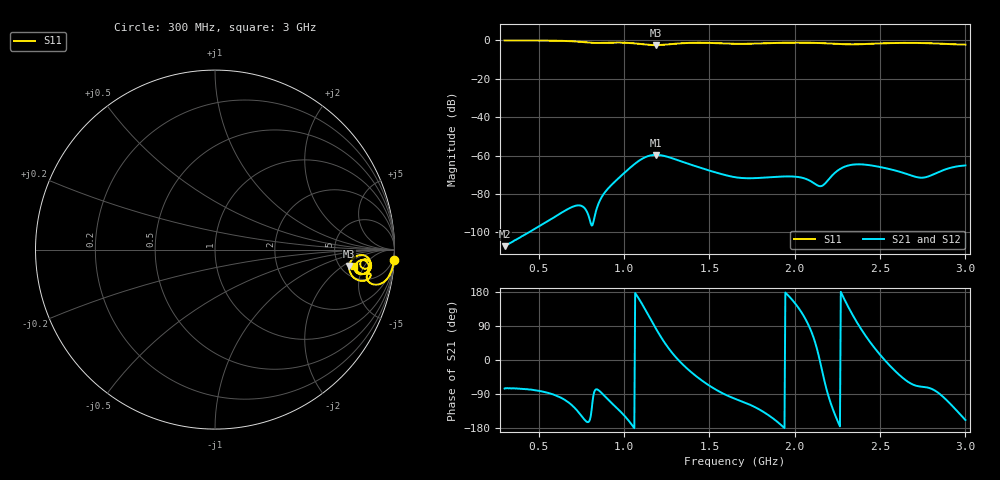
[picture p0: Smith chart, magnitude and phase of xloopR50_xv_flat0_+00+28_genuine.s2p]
! xloopR50_xv_flat0_+00+28_genuine, gap C 0.80 pF
! simulated by sim/fixtures_fdtd.py (S12 = S21, S22 not computed)
# HZ S RI R 50
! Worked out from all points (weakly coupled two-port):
!   541 points, 300 MHz to 3 GHz, reference 50 ohm
!   highest |S21| = -59.65 dB at 1.185 GHz (marker M1); lowest = -107.2 dB at 300 MHz (marker M2)
!   lowest |S11| = -2.5 dB at 1.185 GHz (marker M3), VSWR 7.13, Z = 301 - j128 ohm
!   |S11| at or under -10 dB: nowhere
!   |S22| runs from - to - dB; largest |S21 - S12| = 0
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3e8  0.9964 -0.0605  1.1e-06 -4.2e-06  1.1e-06 -4.2e-06  0 0
6e8  0.9706 -0.1465  -1.6e-06 -2.61e-05  -1.6e-06 -2.61e-05  0 0
7.5e8  0.8927 -0.1954  -4.11e-05 -2.63e-05  -4.11e-05 -2.63e-05  0 0
8.8e8  0.8561 -0.1335  -4.4e-06 -9.86e-05  -4.4e-06 -9.86e-05  0 0
1.075e9  0.8087 -0.1734  -0.000657 0.000116  -0.000657 0.000116  0 0
1.13e9  0.7647 -0.1476  -0.000577 0.000728  -0.000577 0.000728  0 0
1.185e9  0.7483 -0.0915  0.000107 0.00104  0.000107 0.00104  0 0
1.2e9  0.7521 -0.0756  0.000311 0.000988  0.000311 0.000988  0 0
1.285e9  0.8107 -0.0303  0.000804 0.000246  0.000804 0.000246  0 0
1.405e9  0.8641 -0.0638  0.000445 -0.000328  0.000445 -0.000328  0 0
1.65e9  0.8103 -0.0891  -5.81e-05 -0.000266  -5.81e-05 -0.000266  0 0
1.995e9  0.87 -0.0899  -0.000253 0.000127  -0.000253 0.000127  0 0
2.1e9  0.859 -0.12  6.44e-05 0.000197  6.44e-05 0.000197  0 0
2.14e9  0.8478 -0.1294  0.000158 3.41e-05  0.000158 3.41e-05  0 0
2.16e9  0.8406 -0.1329  0.000144 -7.5e-05  0.000144 -7.5e-05  0 0
2.255e9  0.7991 -0.1263  -0.000402 -0.000107  -0.000402 -0.000107  0 0
2.33e9  0.7843 -0.093  -0.000338 0.000459  -0.000338 0.000459  0 0
2.415e9  0.804 -0.0623  0.000253 0.000519  0.000253 0.000519  0 0
2.55e9  0.8465 -0.0692  0.000441 -8.87e-05  0.000441 -8.87e-05  0 0
2.745e9  0.8468 -0.123  8.79e-05 -0.000249  8.79e-05 -0.000249  0 0
2.905e9  0.7907 -0.1295  -0.00018 -0.000432  -0.00018 -0.000432  0 0
3e9  0.7752 -0.0924  -0.000512 -0.000203  -0.000512 -0.000203  0 0
